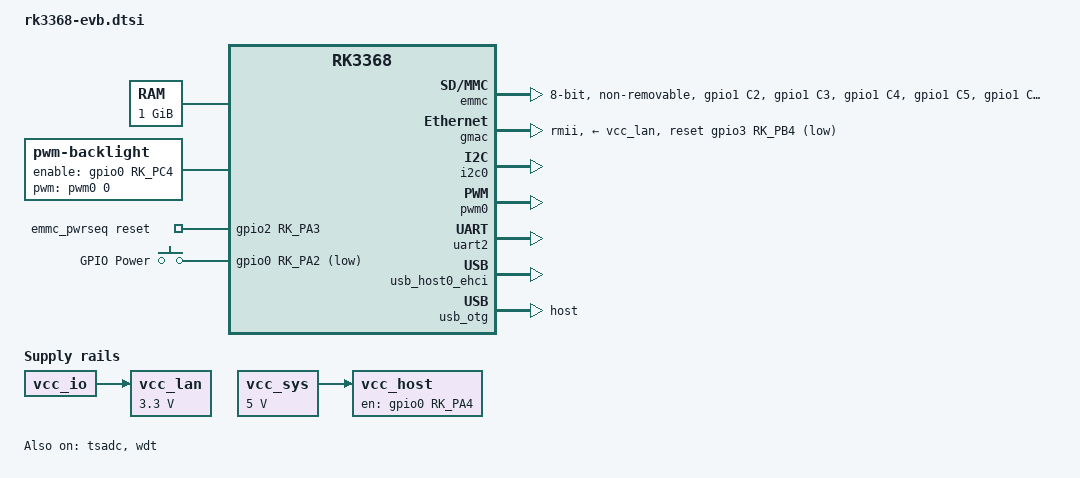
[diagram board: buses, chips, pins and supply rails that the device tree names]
// SPDX-License-Identifier: (GPL-2.0+ OR MIT)
/*
 * Copyright (c) 2015 Caesar Wang <wxt@rock-chips.com>
 */

#include <dt-bindings/input/input.h>
#include <dt-bindings/pwm/pwm.h>
#include "rk3368.dtsi"

/ {
	chosen {
		stdout-path = "serial2:115200n8";
	};

	memory {
		device_type = "memory";
		reg = <0x0 0x0 0x0 0x40000000>;
	};

	backlight: backlight {
		compatible = "pwm-backlight";
		brightness-levels = <
			  0   1   2   3   4   5   6   7
			  8   9  10  11  12  13  14  15
			 16  17  18  19  20  21  22  23
			 24  25  26  27  28  29  30  31
			 32  33  34  35  36  37  38  39
			 40  41  42  43  44  45  46  47
			 48  49  50  51  52  53  54  55
			 56  57  58  59  60  61  62  63
			 64  65  66  67  68  69  70  71
			 72  73  74  75  76  77  78  79
			 80  81  82  83  84  85  86  87
			 88  89  90  91  92  93  94  95
			 96  97  98  99 100 101 102 103
			104 105 106 107 108 109 110 111
			112 113 114 115 116 117 118 119
			120 121 122 123 124 125 126 127
			128 129 130 131 132 133 134 135
			136 137 138 139 140 141 142 143
			144 145 146 147 148 149 150 151
			152 153 154 155 156 157 158 159
			160 161 162 163 164 165 166 167
			168 169 170 171 172 173 174 175
			176 177 178 179 180 181 182 183
			184 185 186 187 188 189 190 191
			192 193 194 195 196 197 198 199
			200 201 202 203 204 205 206 207
			208 209 210 211 212 213 214 215
			216 217 218 219 220 221 222 223
			224 225 226 227 228 229 230 231
			232 233 234 235 236 237 238 239
			240 241 242 243 244 245 246 247
			248 249 250 251 252 253 254 255>;
		default-brightness-level = <128>;
		enable-gpios = <&gpio0 RK_PC4 GPIO_ACTIVE_HIGH>;
		pinctrl-names = "default";
		pinctrl-0 = <&bl_en>;
		pwms = <&pwm0 0 1000000 PWM_POLARITY_INVERTED>;
		pwm-delay-us = <10000>;
	};

	emmc_pwrseq: emmc-pwrseq {
		compatible = "mmc-pwrseq-emmc";
		pinctrl-0 = <&emmc_reset>;
		pinctrl-names = "default";
		reset-gpios = <&gpio2 RK_PA3 GPIO_ACTIVE_HIGH>;
	};

	keys: gpio-keys {
		compatible = "gpio-keys";
		pinctrl-names = "default";
		pinctrl-0 = <&pwr_key>;

		power {
			wakeup-source;
			gpios = <&gpio0 RK_PA2 GPIO_ACTIVE_LOW>;
			label = "GPIO Power";
			linux,code = <KEY_POWER>;
		};
	};

	/* supplies both host and otg */
	vcc_host: vcc-host-regulator {
		compatible = "regulator-fixed";
		enable-active-high;
		gpio = <&gpio0 RK_PA4 GPIO_ACTIVE_HIGH>;
		pinctrl-names = "default";
		pinctrl-0 = <&host_vbus_drv>;
		regulator-name = "vcc_host";
		regulator-always-on;
		regulator-boot-on;
		vin-supply = <&vcc_sys>;
	};

	vcc_lan: vcc-lan-regulator {
		compatible = "regulator-fixed";
		regulator-name = "vcc_lan";
		regulator-min-microvolt = <3300000>;
		regulator-max-microvolt = <3300000>;
		regulator-always-on;
		regulator-boot-on;
		vin-supply = <&vcc_io>;
	};

	vcc_sys: vcc-sys-regulator {
		compatible = "regulator-fixed";
		regulator-name = "vcc_sys";
		regulator-min-microvolt = <5000000>;
		regulator-max-microvolt = <5000000>;
		regulator-always-on;
		regulator-boot-on;
	};
};

&emmc {
	bus-width = <8>;
	cap-mmc-highspeed;
	mmc-pwrseq = <&emmc_pwrseq>;
	non-removable;
	pinctrl-names = "default";
	pinctrl-0 = <&emmc_clk &emmc_cmd &emmc_bus8>;
	status = "okay";
};

&gmac {
	phy-supply = <&vcc_lan>;
	phy-mode = "rmii";
	clock_in_out = "output";
	snps,reset-gpio = <&gpio3 RK_PB4 GPIO_ACTIVE_HIGH>;
	snps,reset-active-low;
	snps,reset-delays-us = <0 10000 1000000>;
	pinctrl-names = "default";
	pinctrl-0 = <&rmii_pins>;
	tx_delay = <0x30>;
	rx_delay = <0x10>;
	status = "ok";
};

&i2c0 {
	status = "okay";
};

&pinctrl {
	pcfg_pull_none_drv_8ma: pcfg-pull-none-drv-8ma {
		bias-disable;
		drive-strength = <8>;
	};

	pcfg_pull_up_drv_8ma: pcfg-pull-up-drv-8ma {
		bias-pull-up;
		drive-strength = <8>;
	};

	backlight {
		bl_en: bl-en {
			rockchip,pins = <0 RK_PC4 RK_FUNC_GPIO &pcfg_pull_none>;
		};
	};

	emmc {
		emmc_bus8: emmc-bus8 {
			rockchip,pins = <1 RK_PC2 2 &pcfg_pull_up_drv_8ma>,
					<1 RK_PC3 2 &pcfg_pull_up_drv_8ma>,
					<1 RK_PC4 2 &pcfg_pull_up_drv_8ma>,
					<1 RK_PC5 2 &pcfg_pull_up_drv_8ma>,
					<1 RK_PC6 2 &pcfg_pull_up_drv_8ma>,
					<1 RK_PC7 2 &pcfg_pull_up_drv_8ma>,
					<1 RK_PD0 2 &pcfg_pull_up_drv_8ma>,
					<1 RK_PD1 2 &pcfg_pull_up_drv_8ma>;
		};

		emmc-clk {
			rockchip,pins = <2 RK_PA4 2 &pcfg_pull_none_drv_8ma>;
		};

		emmc-cmd {
			rockchip,pins = <1 RK_PD2 2 &pcfg_pull_up_drv_8ma>;
		};

		emmc_reset: emmc-reset {
			rockchip,pins = <2 RK_PA3 RK_FUNC_GPIO &pcfg_pull_none>;
		};
	};

	keys {
		pwr_key: pwr-key {
			rockchip,pins = <0 RK_PA2 RK_FUNC_GPIO &pcfg_pull_up>;
		};
	};

	pmic {
		pmic_int: pmic-int {
			rockchip,pins = <0 RK_PA1 RK_FUNC_GPIO &pcfg_pull_up>;
		};
	};

	sdio {
		wifi_reg_on: wifi-reg-on {
			rockchip,pins = <3 RK_PA4 RK_FUNC_GPIO &pcfg_pull_none>;
		};

		bt_rst: bt-rst {
			rockchip,pins = <3 RK_PA5 RK_FUNC_GPIO &pcfg_pull_none>;
		};
	};

	usb {
		host_vbus_drv: host-vbus-drv {
			rockchip,pins = <0 RK_PA4 RK_FUNC_GPIO &pcfg_pull_none>;
		};
	};
};

&pwm0 {
	status = "okay";
};

&tsadc {
	rockchip,hw-tshut-mode = <0>; /* tshut mode 0:CRU 1:GPIO */
	rockchip,hw-tshut-polarity = <0>; /* tshut polarity 0:LOW 1:HIGH */
	status = "okay";
};

&uart2 {
	status = "okay";
};

&usb_host0_ehci {
	status = "okay";
};

&usb_otg {
	dr_mode = "host";
	status = "okay";
};

&wdt {
	status = "okay";
};
